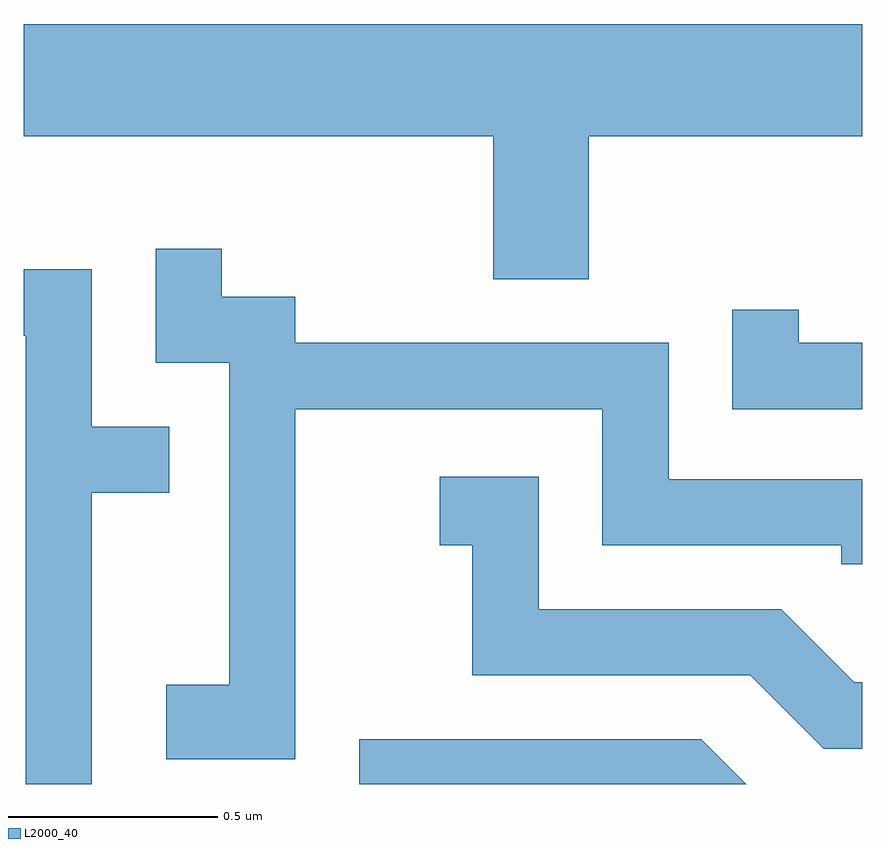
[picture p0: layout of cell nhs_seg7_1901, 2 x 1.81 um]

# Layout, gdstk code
import gdstk
lib = gdstk.Library(unit=1e-6, precision=1e-09)
def P(c, l, *ps):  # polygons
    for p in ps: c.add(gdstk.Polygon(p, *l))
L2000_40 = (2000, 40)

nhs_seg7_1901 = lib.new_cell('nhs_seg7_1901')
P(nhs_seg7_1901, L2000_40, [(199.959,1789.796),(200.611,1789.796),(200.611,1790.064),(198.611,1790.064),(198.611,1789.796),(199.731,1789.796),(199.731,1789.456),(199.959,1789.456)],
  [(199.259,1789.146),(199.991,1789.146),(199.991,1788.821),(200.561,1788.821),(200.561,1788.776),(200.611,1788.776),(200.611,1788.979),(200.149,1788.979),(200.149,1789.304),(199.259,1789.304),(199.259,1789.414),(199.084,1789.414),(199.084,1789.528),(198.926,1789.528),(198.926,1789.256),(199.101,1789.256),(199.101,1788.489),(198.951,1788.489),(198.951,1788.311),(199.259,1788.311)],
  [(198.774,1788.946),(198.958,1788.946),(198.958,1789.104),(198.774,1789.104),(198.774,1789.479),(198.611,1789.479),(198.611,1789.321),(198.616,1789.321),(198.616,1788.252),(198.774,1788.252)],
  [(200.611,1789.304),(200.459,1789.304),(200.459,1789.383),(200.301,1789.383),(200.301,1789.146),(200.611,1789.146)],
  [(200.611,1788.494),(200.592,1788.494),(200.417,1788.669),(199.839,1788.669),(199.839,1788.984),(199.603,1788.984),(199.603,1788.821),(199.681,1788.821),(199.681,1788.511),(200.344,1788.511),(200.519,1788.336),(200.611,1788.336)],
  [(200.227,1788.359),(199.411,1788.359),(199.411,1788.252),(200.334,1788.252)])

lib.write_gds('nhs_seg7_1901.gds')
